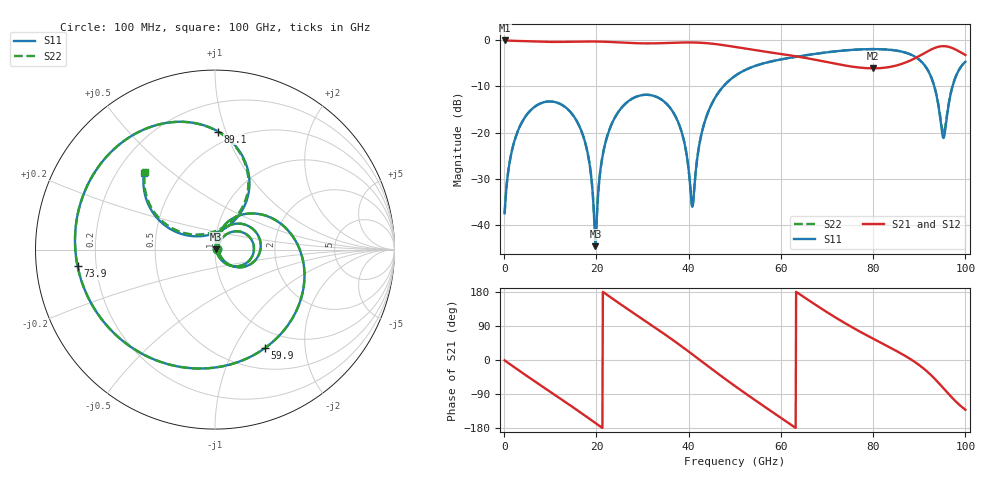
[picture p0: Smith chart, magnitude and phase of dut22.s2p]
! Touchstone file exported from HFSS 2026.1.0
!  File:  C:/ffzhzh/LocalFiles/Ansys_Project_Files/temp_train_TSV_RDL_22_1783615136_33328.aedt
!  Generated:  12:46:20 AM Jul 10, 2026
!  Design:  TSV_RDL
!  Project:  temp_train_TSV_RDL_22_1783615136_33328
! Variables:
!  h_bsmrdl = 2.36um
!  h_ox = 20um
!  h_rdl = 5um
!  h_sub = 98.72um
!  h_tmrdl = 2.22um
!  h_tsv = 98.72um
!  h_via = 3um
!  l_bsmrdl = 468.53um
!  l_sub = 2392.01um
!  l_tmrdl = 110.44um
!  m_sub = 200um
!  pitch = 42.58um
!  r_tsv = 14.4um
!  s_tmrdl = 10um
!  w_bsmrdl = 26.16um
!  w_sub = 500um
!  w_tmrdl = 22.06um
!  x_tsv_center1 = 121.47um
!  x_tsv_center2 = 616.16um
!  x_tsv_center3 = 748.66um
!  x_tsv_center4 = 1243.35um
!  x_tsv_center5 = 1375.85um
!  x_tsv_center6 = 1870.54um
# GHz S MA R 50.000000
! Terminal data exported
! Port[1] = TM_RDL1_1_T1
! Port[2] = TM_RDL5_1_T1
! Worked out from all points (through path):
!   1000 points, 100 MHz to 100 GHz, reference 50 ohm
!   highest |S21| = -0.11 dB at 100 MHz (marker M1); lowest = -6.1 dB at 80 GHz (marker M2)
!   group delay of S21, straight-line fit = 23.1 ps
!   lowest |S11| = -44.5 dB at 19.8 GHz (marker M3), VSWR 1.01, Z = 50.6 + j0.111 ohm
!   |S11| at or under -10 dB: start of sweep to 47.53 GHz; 93.25 GHz to 97.21 GHz (3.962 GHz wide, 4.16 % of centre)
!   |S22| runs from -43.5 to -2.0 dB; largest |S21 - S12| = 5.5e-13
!   S11 on the Smith chart (normalised r, x): 100 MHz: 1.03, +0.01; 59.9 GHz: 0.76, -1.33; 73.9 GHz: 0.13, -0.06; 89.1 GHz: 0.41, +0.94; 100 GHz: 0.31, +0.40
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0.1  0.01352 19.5  0.9873 -0.9  0.9873 -0.9  0.01352 19.5
! Gamma 0 0 0 0
! Port Impedance 50 0 50 0
2.2  0.08046 57.3  0.9778 -19.1  0.9778 -19.1  0.08045 57.3
5.9  0.1777 33.4  0.9624 -50.3  0.9624 -50.3  0.1776 33.4
11.4  0.2115 -9.3  0.9517 -95.4  0.9517 -95.4  0.2114 -9.2
16.8  0.1028 -51.5  0.9618 -140.6  0.9618 -140.6  0.1027 -51.1
19.8  0.00598 10.6  0.9619 -166.4  0.9619 -166.4  0.006703 12.2
21.4  0.0584 80.6  0.9577 179.8  0.9577 179.8  0.05869 79.9
23.8  0.1393 64.0  0.9464 159.3  0.9464 159.3  0.1395 63.7
33.4  0.2386 -11.3  0.9206 79.8  0.9206 79.8  0.2387 -11.4
38.1  0.1163 -46.5  0.9371 39.4  0.9371 39.4  0.1163 -46.6
40.8  0.01589 11.9  0.9395 15.0  0.9395 15.0  0.01578 11.9
43.9  0.1513 68.0  0.9232 -13.5  0.9232 -13.5  0.1514 68.0
50.1  0.4108 17.3  0.84 -69.3  0.84 -69.3  0.411 17.3
59.9  0.6151 -63.2  0.7072 -151.9  0.7072 -151.9  0.6154 -63.3
66.7  0.6992 -118.5  0.6216 152.2  0.6216 152.2  0.6994 -118.7
73.9  0.7713 -173.2  0.5303 97.2  0.5303 97.2  0.7715 -173.3
80  0.7968 146.6  0.4942 56.2  0.4942 56.2  0.7969 146.6
83.4  0.7851 125.7  0.5093 34.6  0.5093 34.6  0.7853 125.8
89.1  0.6582 88.5  0.6358 -5.8  0.6358 -5.8  0.6588 88.8
92.7  0.3831 60.3  0.7936 -41.6  0.7936 -41.6  0.385 61.4
95.2  0.08777 100.7  0.8576 -74.1  0.8576 -74.1  0.09722 101.1
100  0.5823 132.8  0.6886 -131.4  0.6886 -131.4  0.5831 132.0
